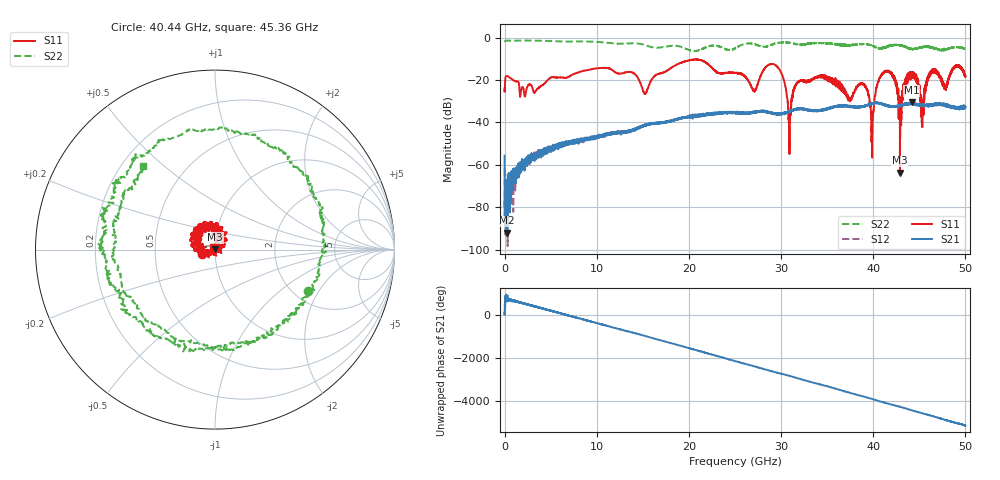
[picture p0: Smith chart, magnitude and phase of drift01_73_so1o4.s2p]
!Created with skrf (http://scikit-rf.org).
# Hz S RI R 50.0
!freq ReS11 ImS11 ReS21 ImS21 ReS12 ImS12 ReS22 ImS22
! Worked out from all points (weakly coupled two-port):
!   10001 points, 300 kHz to 50 GHz, reference 50 ohm
!   highest |S21| = -30.56 dB at 44.19 GHz (marker M1); lowest = -92.0 dB at 285.3 MHz (marker M2)
!   lowest |S11| = -63.7 dB at 42.9 GHz (marker M3), VSWR 1.00, Z = 50 + j0.0574 ohm
!   |S11| at or under -10 dB: start of sweep to end of sweep
!   |S22| runs from -6.4 to -1.4 dB; largest |S21 - S12| = 0.0043
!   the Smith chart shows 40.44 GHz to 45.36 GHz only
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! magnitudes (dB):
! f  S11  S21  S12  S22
! 300 kHz  -24.0  -55.6  -61.9  -2.1
! 285.3 MHz  -18.1  -92.0  -72.3  -1.4
! 3.06 GHz  -24.4  -55.4  -56.5  -1.4
! 8.335 GHz  -15.9  -49.0  -48.9  -1.8
! 13.78 GHz  -16.3  -43.6  -44.0  -2.7
! 15.23 GHz  -26.5  -41.4  -41.4  -3.5
! 16.67 GHz  -17.1  -40.4  -40.2  -4.8
! 25 GHz  -16.5  -35.5  -35.5  -5.0
! 27.09 GHz  -25.1  -35.0  -35.2  -3.0
! 29.45 GHz  -13.2  -36.1  -35.9  -2.7
! 30.91 GHz  -54.9  -35.0  -34.9  -2.5
! 31.7 GHz  -21.6  -33.6  -33.7  -3.2
! 33.34 GHz  -19.8  -34.2  -34.2  -2.7
! 38.91 GHz  -21.8  -32.5  -32.5  -3.1
! 39.86 GHz  -50.7  -31.2  -31.1  -3.7
! 40.57 GHz  -20.8  -30.8  -30.8  -5.2
! 41.67 GHz  -15.7  -32.1  -32.3  -4.0
! 42.9 GHz  -63.7  -32.0  -32.1  -3.7
! 44.19 GHz  -17.2  -30.6  -31.3  -5.3
! 45.31 GHz  -35.2  -31.8  -32.0  -4.4
! 46.42 GHz  -15.1  -31.6  -31.8  -4.9
! 50 GHz  -18.0  -32.9  -32.7  -5.3
